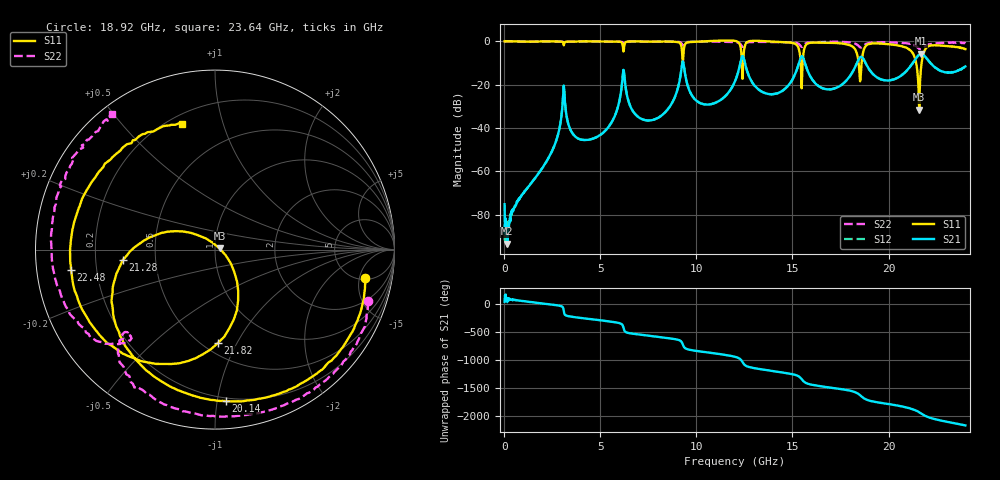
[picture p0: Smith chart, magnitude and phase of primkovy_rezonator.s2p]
#  HZ  S  MA  R  50.00
! Rohde & Schwarz ZVA67 4Ports - Version 4.11 - 1305.7002k04 SN: 101051
! Date: 2023-04-26 09:46:39
! Measurements: S11 S21 S12 S22
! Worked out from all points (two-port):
!   1200 points, 20 MHz to 24 GHz, reference 50 ohm
!   highest |S21| = -5.73 dB at 21.7 GHz (marker M1); lowest = -93.4 dB at 160 MHz (marker M2)
!   |S21| within 3 dB of the highest: 18.42 GHz to 18.73 GHz (305.9 MHz wide, 1.65 % of centre); 21.36 GHz to 22.07 GHz (705.2 MHz wide, 3.25 % of centre)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
!   lowest |S11| = -31.5 dB at 21.6 GHz (marker M3), VSWR 1.05, Z = 52.6 + j0.652 ohm
!   |S11| at or under -10 dB: 15.43 GHz to 15.53 GHz (101.2 MHz wide, 0.653 % of centre); 18.44 GHz to 18.6 GHz (156.9 MHz wide, 0.847 % of centre); 21.44 GHz to 21.72 GHz (282.6 MHz wide, 1.31 % of centre)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
!   |S22| runs from -3.6 to 0.1 dB; largest |S21 - S12| = 0.0048
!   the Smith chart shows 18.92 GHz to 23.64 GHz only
!   S11 on the Smith chart (normalised r, x): 18.92 GHz: 5.41, -6.00; 20.14 GHz: 0.18, -1.06; 21.28 GHz: 0.32, -0.05; 21.82 GHz: 0.59, -0.84; 22.48 GHz: 0.11, -0.07; 23.64 GHz: 0.25, +0.74
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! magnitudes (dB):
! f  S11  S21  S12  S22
! 20 MHz  0.0  -75.2  -91.9  0.1
! 160 MHz  0.0  -93.4  -94.6  0.0
! 2.4 GHz  0.0  -52.3  -52.2  0.0
! 3.1 GHz  -1.9  -20.4  -20.4  -0.6
! 4.02 GHz  0.0  -45.4  -45.4  -0.1
! 5.48 GHz  -0.1  -38.9  -38.9  -0.2
! 6.2 GHz  -4.7  -13.2  -13.2  -1.1
! 8.02 GHz  -0.1  -35.2  -35.2  -0.1
! 9.28 GHz  -8.5  -9.5  -9.5  -1.8
! 10.36 GHz  0.0  -29.0  -29.0  -0.1
! 12.02 GHz  0.2  -18.2  -18.2  -0.4
! 16.02 GHz  -0.6  -17.5  -17.5  -0.4
! 18.92 GHz  -1.4  -11.9  -11.9  -0.9
! 20.02 GHz  -1.3  -18.0  -18.0  -0.5
! 20.14 GHz  -1.5  -17.9  -17.9  -0.5
! 21.28 GHz  -5.7  -9.8  -9.8  -1.6
! 21.6 GHz  -31.5  -6.2  -6.2  -3.4
! 21.7 GHz  -11.5  -5.7  -5.7  -3.4
! 21.82 GHz  -5.6  -6.2  -6.2  -2.9
! 22.48 GHz  -1.8  -12.3  -12.3  -0.9
! 23.64 GHz  -2.8  -13.4  -13.4  -0.5
! 24 GHz  -3.6  -11.6  -11.6  -0.9
